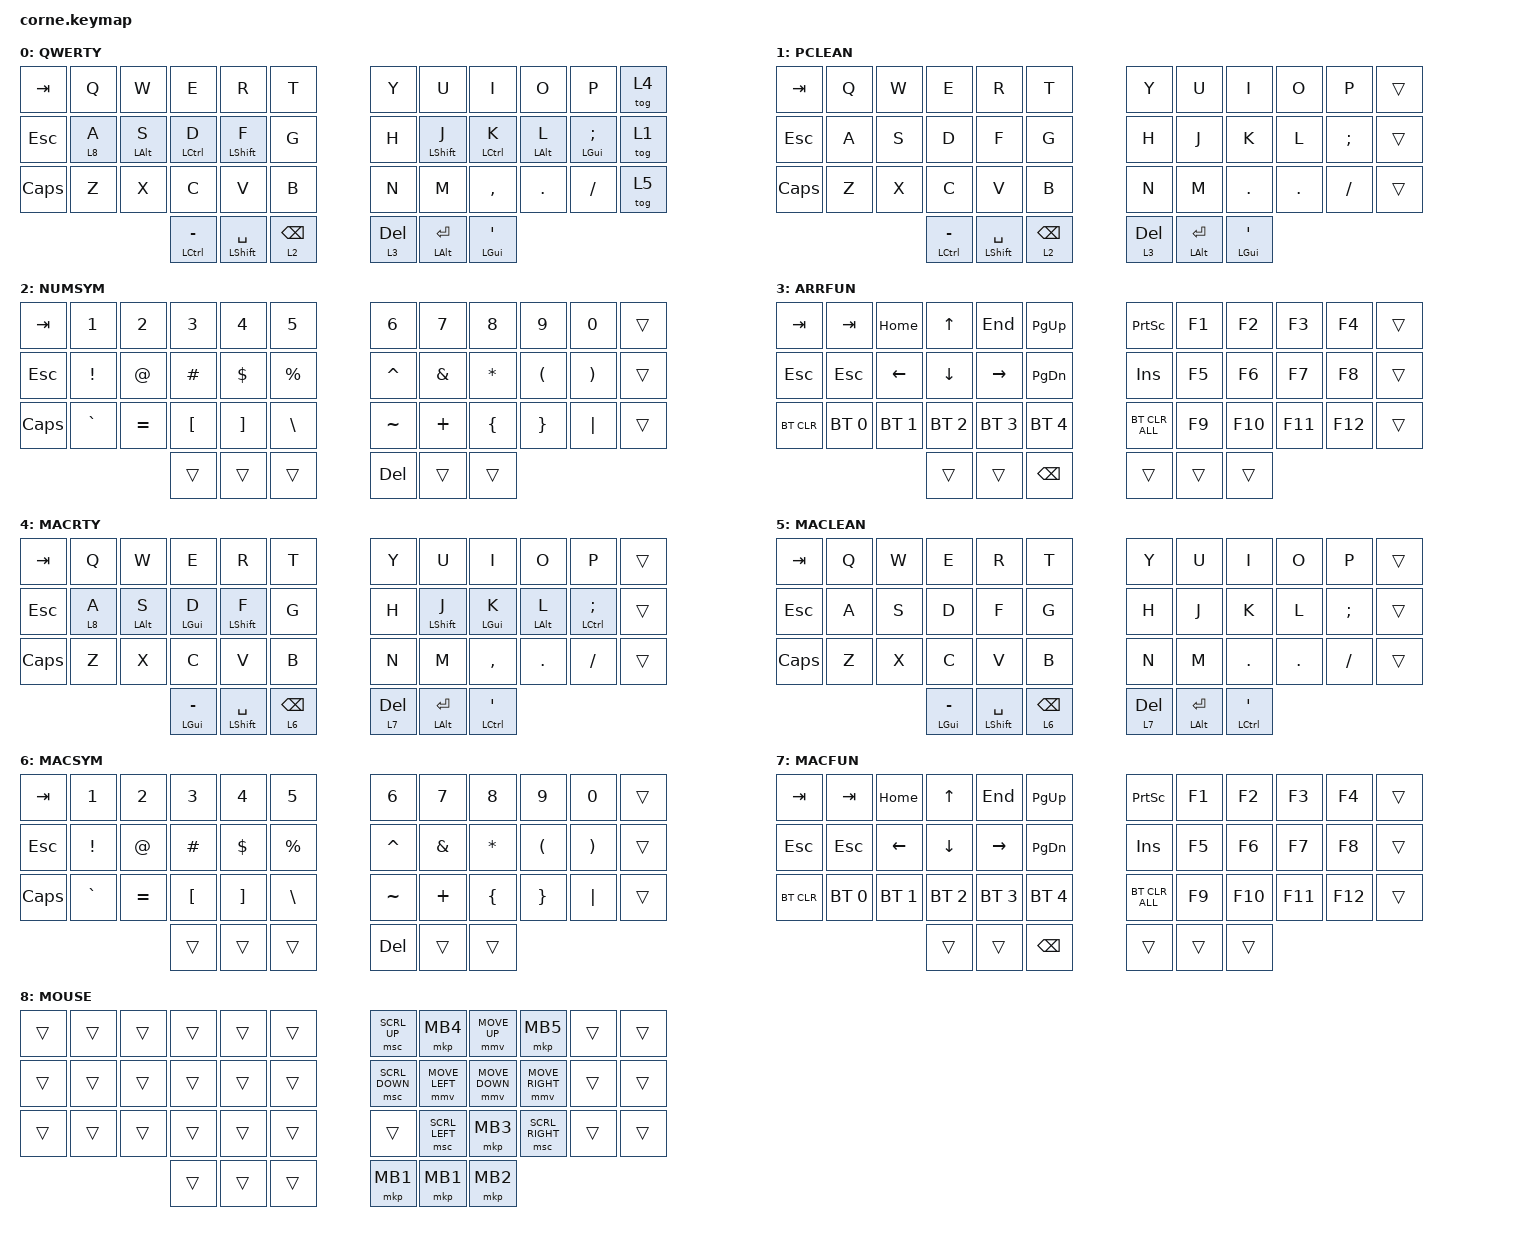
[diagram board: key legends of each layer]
/*
 * Copyright (c) 2020 The ZMK Contributors
 *
 * SPDX-License-Identifier: MIT
 */

#include <behaviors.dtsi>
#include <dt-bindings/zmk/bt.h>
#include <dt-bindings/zmk/keys.h>
#include <dt-bindings/zmk/pointing.h>

/ {
    behaviors {
        hml: hml {
            compatible = "zmk,behavior-hold-tap";
            label = "HML";
            bindings = <&kp>, <&kp>;

            #binding-cells = <2>;
            tapping-term-ms = <250>;
            quick-tap-ms = <150>;
            flavor = "balanced";
            hold-trigger-key-positions = <6 7 8 9 10 11 18 19 20 21 22 23 30 31 32 33 34 35 39 40 41>;
            hold-trigger-on-release;
            require-prior-idle-ms = <125>;
        };

        hmr: hmr {
            compatible = "zmk,behavior-hold-tap";
            label = "HMR";
            bindings = <&kp>, <&kp>;

            #binding-cells = <2>;
            tapping-term-ms = <250>;
            quick-tap-ms = <150>;
            flavor = "balanced";
            hold-trigger-key-positions = <0 1 2 3 4 5 12 13 14 15 16 17 24 25 26 27 28 29 36 37 38>;
            hold-trigger-on-release;
            require-prior-idle-ms = <125>;
        };

        spc: spc {
            compatible = "zmk,behavior-hold-tap";
            label = "SPC";
            bindings = <&kp>, <&kp>;

            #binding-cells = <2>;
            tapping-term-ms = <250>;
            quick-tap-ms = <150>;
            flavor = "tap-preferred";
            hold-trigger-on-release;
            require-prior-idle-ms = <125>;
        };
    };

    keymap {
        compatible = "zmk,keymap";

        QWERTY {
            // -----------------------------------------------------------------------------------------
            // |  TAB |  Q  |  W  |  E  |  R  |  T  |   |  Y  |  U   |  I  |  O  |  P  | BSPC |
            // | CTRL |  A  |  S  |  D  |  F  |  G  |   |  H  |  J   |  K  |  L  |  ;  |  '   |
            // | SHFT |  Z  |  X  |  C  |  V  |  B  |   |  N  |  M   |  ,  |  .  |  /  | ESC  |
            //                    | GUI | LWR | SPC |   | ENT | RSE  | ALT |

            bindings = <
&kp TAB     &kp Q    &kp W            &kp E                &kp R                  &kp T              &kp Y         &kp U               &kp I                &kp O            &kp P                    &tog 4
&kp ESCAPE  &lt 8 A  &hml LEFT_ALT S  &hml LEFT_CONTROL D  &hml LEFT_SHIFT F      &kp G              &kp H         &hmr LEFT_SHIFT J   &hmr LEFT_CONTROL K  &hmr LEFT_ALT L  &hmr LEFT_GUI SEMICOLON  &tog 1
&kp CAPS    &kp Z    &kp X            &kp C                &kp V                  &kp B              &kp N         &kp M               &kp COMMA            &kp DOT          &kp FSLH                 &tog 5
                                      &mt LCTRL MINUS      &spc LEFT_SHIFT SPACE  &lt 2 BACKSPACE    &lt 3 DELETE  &mt LEFT_ALT ENTER  &mt LEFT_GUI SQT
            >;
        };

        PCLEAN {
            bindings = <
&kp TAB     &kp Q  &kp W  &kp E            &kp R                  &kp T              &kp Y         &kp U               &kp I             &kp O    &kp P     &trans
&kp ESCAPE  &kp A  &kp S  &kp D            &kp F                  &kp G              &kp H         &kp J               &kp K             &kp L    &kp SEMI  &trans
&kp CAPS    &kp Z  &kp X  &kp C            &kp V                  &kp B              &kp N         &kp M               &kp DOT           &kp DOT  &kp FSLH  &trans
                          &mt LCTRL MINUS  &spc LEFT_SHIFT SPACE  &lt 2 BACKSPACE    &lt 3 DELETE  &mt LEFT_ALT ENTER  &mt LEFT_GUI SQT
            >;
        };

        NUMSYM {
            // -----------------------------------------------------------------------------------------
            // |  TAB |  1  |  2  |  3  |  4  |  5  |   |  6  |  7  |  8  |  9  |  0  | BSPC |
            // | BTCLR| BT1 | BT2 | BT3 | BT4 | BT5 |   | LFT | DWN |  UP | RGT |     |      |
            // | SHFT |     |     |     |     |     |   |     |     |     |     |     |      |
            //                    | GUI |     | SPC |   | ENT |     | ALT |

            bindings = <
&kp TAB     &kp N1     &kp N2     &kp N3    &kp N4      &kp N5         &kp N6      &kp N7    &kp N8          &kp N9                &kp N0                 &trans
&kp ESCAPE  &kp EXCL   &kp AT     &kp HASH  &kp DOLLAR  &kp PERCENT    &kp CARET   &kp AMPS  &kp ASTRK       &kp LEFT_PARENTHESIS  &kp RIGHT_PARENTHESIS  &trans
&kp CAPS    &kp GRAVE  &kp EQUAL  &kp LBKT  &kp RBKT    &kp BSLH       &kp TILDE   &kp PLUS  &kp LEFT_BRACE  &kp RIGHT_BRACE       &kp PIPE               &trans
                                  &trans    &trans      &trans         &kp DELETE  &trans    &trans
            >;
        };

        ARRFUN {
            // -----------------------------------------------------------------------------------------
            // |  TAB |  !  |  @  |  #  |  $  |  %  |   |  ^  |  &  |  *  |  (  |  )  | BSPC |
            // | CTRL |     |     |     |     |     |   |  -  |  =  |  [  |  ]  |  \  |  `   |
            // | SHFT |     |     |     |     |     |   |  _  |  +  |  {  |  }  | "|" |  ~   |
            //                    | GUI |     | SPC |   | ENT |     | ALT |

            bindings = <
&kp TAB     &kp TAB       &kp HOME      &kp UP        &kp END       &kp PAGE_UP      &kp PRINTSCREEN  &kp F1  &kp F2   &kp F3   &kp F4   &trans
&kp ESCAPE  &kp ESCAPE    &kp LEFT      &kp DOWN      &kp RIGHT     &kp PAGE_DOWN    &kp INSERT       &kp F5  &kp F6   &kp F7   &kp F8   &trans
&bt BT_CLR  &bt BT_SEL 0  &bt BT_SEL 1  &bt BT_SEL 2  &bt BT_SEL 3  &bt BT_SEL 4     &bt BT_CLR_ALL   &kp F9  &kp F10  &kp F11  &kp F12  &trans
                                        &trans        &trans        &kp BACKSPACE    &trans           &trans  &trans
            >;
        };

        MACRTY {
            bindings = <
&kp TAB     &kp Q    &kp W            &kp E               &kp R                  &kp T              &kp Y         &kp U               &kp I                 &kp O            &kp P                        &trans
&kp ESCAPE  &lt 8 A  &hml LEFT_ALT S  &hml LEFT_GUI D     &hml LEFT_SHIFT F      &kp G              &kp H         &hmr LEFT_SHIFT J   &hmr LEFT_GUI K       &hmr LEFT_ALT L  &hmr LEFT_CONTROL SEMICOLON  &trans
&kp CAPS    &kp Z    &kp X            &kp C               &kp V                  &kp B              &kp N         &kp M               &kp COMMA             &kp DOT          &kp FSLH                     &trans
                                      &mt LEFT_GUI MINUS  &spc LEFT_SHIFT SPACE  &lt 6 BACKSPACE    &lt 7 DELETE  &mt LEFT_ALT ENTER  &mt LEFT_CONTROL SQT
            >;
        };

        MACLEAN {
            bindings = <
&kp TAB     &kp Q  &kp W  &kp E               &kp R                  &kp T              &kp Y         &kp U               &kp I                 &kp O    &kp P     &trans
&kp ESCAPE  &kp A  &kp S  &kp D               &kp F                  &kp G              &kp H         &kp J               &kp K                 &kp L    &kp SEMI  &trans
&kp CAPS    &kp Z  &kp X  &kp C               &kp V                  &kp B              &kp N         &kp M               &kp DOT               &kp DOT  &kp FSLH  &trans
                          &mt LEFT_GUI MINUS  &spc LEFT_SHIFT SPACE  &lt 6 BACKSPACE    &lt 7 DELETE  &mt LEFT_ALT ENTER  &mt LEFT_CONTROL SQT
            >;
        };

        MACSYM {
            bindings = <
&kp TAB     &kp N1     &kp N2     &kp N3    &kp N4      &kp N5         &kp N6      &kp N7    &kp N8          &kp N9                &kp N0                 &trans
&kp ESCAPE  &kp EXCL   &kp AT     &kp HASH  &kp DOLLAR  &kp PERCENT    &kp CARET   &kp AMPS  &kp ASTRK       &kp LEFT_PARENTHESIS  &kp RIGHT_PARENTHESIS  &trans
&kp CAPS    &kp GRAVE  &kp EQUAL  &kp LBKT  &kp RBKT    &kp BSLH       &kp TILDE   &kp PLUS  &kp LEFT_BRACE  &kp RIGHT_BRACE       &kp PIPE               &trans
                                  &trans    &trans      &trans         &kp DELETE  &trans    &trans
            >;
        };

        MACFUN {
            bindings = <
&kp TAB     &kp TAB       &kp HOME      &kp UP        &kp END       &kp PAGE_UP      &kp PRINTSCREEN  &kp F1  &kp F2   &kp F3   &kp F4   &trans
&kp ESCAPE  &kp ESCAPE    &kp LEFT      &kp DOWN      &kp RIGHT     &kp PAGE_DOWN    &kp INSERT       &kp F5  &kp F6   &kp F7   &kp F8   &trans
&bt BT_CLR  &bt BT_SEL 0  &bt BT_SEL 1  &bt BT_SEL 2  &bt BT_SEL 3  &bt BT_SEL 4     &bt BT_CLR_ALL   &kp F9  &kp F10  &kp F11  &kp F12  &trans
                                        &trans        &trans        &kp BACKSPACE    &trans           &trans  &trans
            >;
        };

        MOUSE {
            bindings = <
&trans  &trans  &trans  &trans  &trans  &trans    &msc SCRL_UP    &mkp MB4        &mmv MOVE_UP    &mkp MB5         &trans  &trans
&trans  &trans  &trans  &trans  &trans  &trans    &msc SCRL_DOWN  &mmv MOVE_LEFT  &mmv MOVE_DOWN  &mmv MOVE_RIGHT  &trans  &trans
&trans  &trans  &trans  &trans  &trans  &trans    &trans          &msc SCRL_LEFT  &mkp MB3        &msc SCRL_RIGHT  &trans  &trans
                        &trans  &trans  &trans    &mkp MB1        &mkp MB1        &mkp MB2
            >;
        };
    };
};
